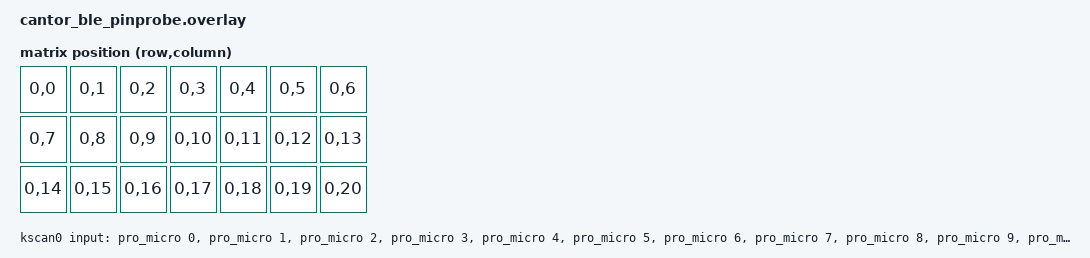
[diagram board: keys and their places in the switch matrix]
/* Pin-identification probe: every exposed GPIO is a direct-pin key with a
 * pull-up. Ground a pad and it types its letter. Used to verify the
 * controller module actually routes each pad to the nice!nano-standard pin.
 *
 *   A  = pro_micro 0  (P0.08)      L = pro_micro 14 (P1.11)
 *   B  = pro_micro 1  (P0.06)      M = pro_micro 15 (P1.13)
 *   C  = pro_micro 2  (P0.17) row1 N = pro_micro 16 (P0.10) col1
 *   D  = pro_micro 3  (P0.20) col6 O = pro_micro 18 (P1.15)
 *   E  = pro_micro 4  (P0.22) col4 P = pro_micro 19 (P0.02)
 *   F  = pro_micro 5  (P0.24) col3 Q = pro_micro 20 (P0.29)
 *   G  = pro_micro 6  (P1.00) col2 R = pro_micro 21 (P0.31)
 *   H  = pro_micro 7  (P0.11) col5 S = P1.01 (extra pad)
 *   I  = pro_micro 8  (P1.04) row2 T = P1.02 (extra pad)
 *   J  = pro_micro 9  (P1.06) row3 U = P1.07 (extra pad)
 *   K  = pro_micro 10 (P0.09) row4
 */

#include <dt-bindings/zmk/matrix_transform.h>

&uicr {
    nfct-pins-as-gpios;
};

&pro_micro_serial {
    status = "disabled";
};

/ {
    chosen {
        zmk,kscan = &kscan0;
        zmk,matrix-transform = &default_transform;
    };

    default_transform: keymap_transform_0 {
        compatible = "zmk,matrix-transform";
        columns = <21>;
        rows = <1>;
        map = <
            RC(0,0)  RC(0,1)  RC(0,2)  RC(0,3)  RC(0,4)  RC(0,5)  RC(0,6)
            RC(0,7)  RC(0,8)  RC(0,9)  RC(0,10) RC(0,11) RC(0,12) RC(0,13)
            RC(0,14) RC(0,15) RC(0,16) RC(0,17) RC(0,18) RC(0,19) RC(0,20)
        >;
    };

    kscan0: kscan {
        compatible = "zmk,kscan-gpio-direct";
        wakeup-source;
        input-gpios
            = <&pro_micro 0 (GPIO_ACTIVE_LOW | GPIO_PULL_UP)>
            , <&pro_micro 1 (GPIO_ACTIVE_LOW | GPIO_PULL_UP)>
            , <&pro_micro 2 (GPIO_ACTIVE_LOW | GPIO_PULL_UP)>
            , <&pro_micro 3 (GPIO_ACTIVE_LOW | GPIO_PULL_UP)>
            , <&pro_micro 4 (GPIO_ACTIVE_LOW | GPIO_PULL_UP)>
            , <&pro_micro 5 (GPIO_ACTIVE_LOW | GPIO_PULL_UP)>
            , <&pro_micro 6 (GPIO_ACTIVE_LOW | GPIO_PULL_UP)>
            , <&pro_micro 7 (GPIO_ACTIVE_LOW | GPIO_PULL_UP)>
            , <&pro_micro 8 (GPIO_ACTIVE_LOW | GPIO_PULL_UP)>
            , <&pro_micro 9 (GPIO_ACTIVE_LOW | GPIO_PULL_UP)>
            , <&pro_micro 10 (GPIO_ACTIVE_LOW | GPIO_PULL_UP)>
            , <&pro_micro 14 (GPIO_ACTIVE_LOW | GPIO_PULL_UP)>
            , <&pro_micro 15 (GPIO_ACTIVE_LOW | GPIO_PULL_UP)>
            , <&pro_micro 16 (GPIO_ACTIVE_LOW | GPIO_PULL_UP)>
            , <&pro_micro 18 (GPIO_ACTIVE_LOW | GPIO_PULL_UP)>
            , <&pro_micro 19 (GPIO_ACTIVE_LOW | GPIO_PULL_UP)>
            , <&pro_micro 20 (GPIO_ACTIVE_LOW | GPIO_PULL_UP)>
            , <&pro_micro 21 (GPIO_ACTIVE_LOW | GPIO_PULL_UP)>
            , <&gpio1 1 (GPIO_ACTIVE_LOW | GPIO_PULL_UP)>
            , <&gpio1 2 (GPIO_ACTIVE_LOW | GPIO_PULL_UP)>
            , <&gpio1 7 (GPIO_ACTIVE_LOW | GPIO_PULL_UP)>
            ;
    };
};
